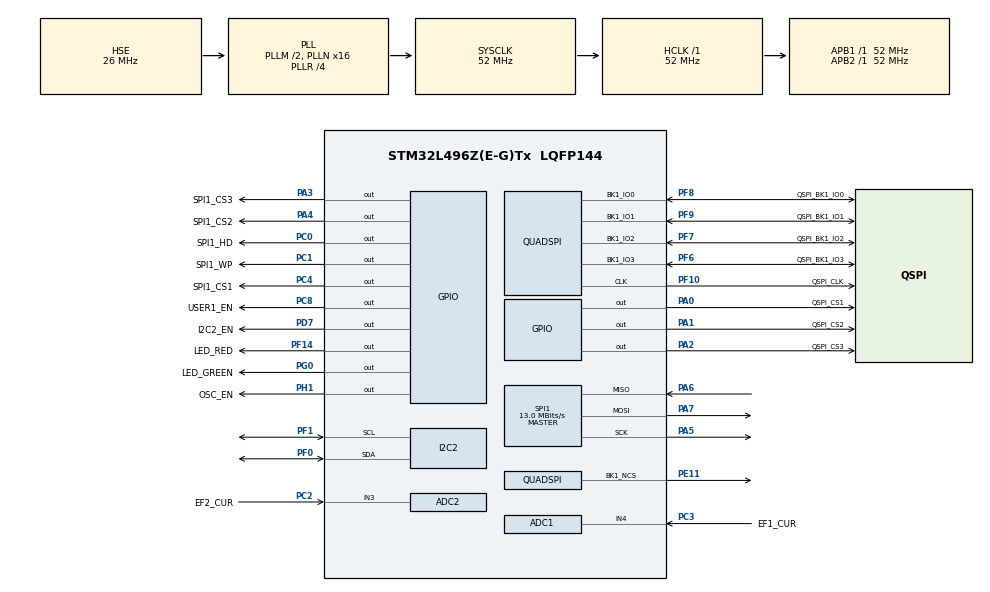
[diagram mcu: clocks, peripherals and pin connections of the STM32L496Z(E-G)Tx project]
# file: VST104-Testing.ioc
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ADC1.Channel-1\#ChannelRegularConversion=ADC_CHANNEL_4
ADC1.ClockPrescaler=ADC_CLOCK_ASYNC_DIV2
ADC1.NbrOfConversionFlag=1
ADC1.OffsetNumber-1\#ChannelRegularConversion=ADC_OFFSET_NONE
ADC1.Rank-1\#ChannelRegularConversion=1
ADC1.SamplingTime-1\#ChannelRegularConversion=ADC_SAMPLETIME_2CYCLES_5
ADC1.master=1
ADC2.Channel-0\#ChannelRegularConversion=ADC_CHANNEL_3
ADC2.ClockPrescaler=ADC_CLOCK_ASYNC_DIV2
ADC2.NbrOfConversionFlag=1
ADC2.OffsetNumber-0\#ChannelRegularConversion=ADC_OFFSET_NONE
ADC2.Rank-0\#ChannelRegularConversion=1
ADC2.SamplingTime-0\#ChannelRegularConversion=ADC_SAMPLETIME_2CYCLES_5
I2C2.Timing=0x00C0FEFF
Mcu.Family=STM32L4
Mcu.Name=STM32L496Z(E-G)Tx
Mcu.Package=LQFP144
NVIC.PriorityGroup=NVIC_PRIORITYGROUP_4
PA0.GPIO_Label=QSPI_CS1
PA0.GPIO_Speed=GPIO_SPEED_FREQ_VERY_HIGH
PA0.PinState=GPIO_PIN_SET
PA0.Signal=GPIO_Output
PA1.GPIO_Label=QSPI_CS2
PA1.GPIO_Speed=GPIO_SPEED_FREQ_VERY_HIGH
PA1.PinState=GPIO_PIN_SET
PA1.Signal=GPIO_Output
PA13\ (JTMS/SWDIO).Mode=Trace_Asynchronous_SW
PA13\ (JTMS/SWDIO).Signal=SYS_JTMS-SWDIO
PA14\ (JTCK/SWCLK).Mode=Trace_Asynchronous_SW
PA14\ (JTCK/SWCLK).Signal=SYS_JTCK-SWCLK
PA2.GPIO_Label=QSPI_CS3
PA2.Signal=GPIO_Output
PA3.GPIO_Label=SPI1_CS3
PA3.Signal=GPIO_Output
PA4.GPIO_Label=SPI1_CS2
PA4.Signal=GPIO_Output
PA5.Mode=Full_Duplex_Master
PA5.Signal=SPI1_SCK
PA6.Mode=Full_Duplex_Master
PA6.Signal=SPI1_MISO
PA7.Mode=Full_Duplex_Master
PA7.Signal=SPI1_MOSI
PB3\ (JTDO/TRACESWO).Mode=Trace_Asynchronous_SW
PB3\ (JTDO/TRACESWO).Signal=SYS_JTDO-SWO
PC0.GPIO_Label=SPI1_HD
PC0.GPIO_PuPd=GPIO_PULLUP
PC0.GPIO_Speed=GPIO_SPEED_FREQ_HIGH
PC0.PinState=GPIO_PIN_SET
PC0.Signal=GPIO_Output
PC1.GPIO_Label=SPI1_WP
PC1.GPIO_ModeDefaultOutputPP=GPIO_MODE_OUTPUT_PP
PC1.GPIO_PuPd=GPIO_PULLUP
PC1.GPIO_Speed=GPIO_SPEED_FREQ_HIGH
PC1.PinState=GPIO_PIN_SET
PC1.Signal=GPIO_Output
PC14-OSC32_IN\ (PC14).GPIO_Label=OSC32_IN
PC14-OSC32_IN\ (PC14).Mode=LSE-External-Oscillator
PC14-OSC32_IN\ (PC14).Signal=RCC_OSC32_IN
PC15-OSC32_OUT\ (PC15).GPIO_Label=OSC32_OUT
PC15-OSC32_OUT\ (PC15).Mode=LSE-External-Oscillator
PC15-OSC32_OUT\ (PC15).Signal=RCC_OSC32_OUT
PC2.GPIO_Label=EF2_CUR
PC2.Signal=ADCx_IN3
PC3.GPIO_Label=EF1_CUR
PC3.Signal=ADCx_IN4
PC4.GPIO_Label=SPI1_CS1
PC4.Signal=GPIO_Output
PC8.GPIO_Label=USER1_EN
PC8.Signal=GPIO_Output
PD7.GPIO_Label=I2C2_EN
PD7.Signal=GPIO_Output
PE11.Mode=Single Bank 1
PE11.Signal=QUADSPI_BK1_NCS
PF0.Mode=I2C
PF0.Signal=I2C2_SDA
PF1.Mode=I2C
PF1.Signal=I2C2_SCL
PF10.GPIO_Label=QSPI_CLK
PF10.Mode=Single Bank 1
PF10.Signal=QUADSPI_CLK
PF14.GPIO_Label=LED_RED
PF14.Signal=GPIO_Output
PF6.GPIO_Label=QSPI_BK1_IO3
PF6.Mode=Single Bank 1
PF6.Signal=QUADSPI_BK1_IO3
PF7.GPIO_Label=QSPI_BK1_IO2
PF7.Mode=Single Bank 1
PF7.Signal=QUADSPI_BK1_IO2
PF8.GPIO_Label=QSPI_BK1_IO0
PF8.Mode=Single Bank 1
PF8.Signal=QUADSPI_BK1_IO0
PF9.GPIO_Label=QSPI_BK1_IO1
PF9.Mode=Single Bank 1
PF9.Signal=QUADSPI_BK1_IO1
PG0.GPIO_Label=LED_GREEN
PG0.Signal=GPIO_Output
PH0-OSC_IN\ (PH0).GPIO_Label=OSC_IN
PH0-OSC_IN\ (PH0).Mode=HSE-External-Clock-Source
PH0-OSC_IN\ (PH0).Signal=RCC_OSC_IN
PH1-OSC_OUT\ (PH1).GPIO_Label=OSC_EN
PH1-OSC_OUT\ (PH1).GPIO_ModeDefaultOutputPP=GPIO_MODE_OUTPUT_PP
PH1-OSC_OUT\ (PH1).GPIO_PuPd=GPIO_PULLUP
PH1-OSC_OUT\ (PH1).PinState=GPIO_PIN_SET
PH1-OSC_OUT\ (PH1).Signal=GPIO_Output
ProjectManager.HeapSize=0x200
ProjectManager.StackSize=0x400
ProjectManager.TargetToolchain=STM32CubeIDE
QUADSPI.ChipSelectHighTime=QSPI_CS_HIGH_TIME_1_CYCLE
QUADSPI.ClockMode=QSPI_CLOCK_MODE_0
QUADSPI.ClockPrescaler=0
QUADSPI.FifoThreshold=4
QUADSPI.FlashSize=7
QUADSPI.SampleShifting=QSPI_SAMPLE_SHIFTING_NONE
RCC.ADCFreq_Value=52000000
RCC.AHBFreq_Value=52000000
RCC.APB1Freq_Value=52000000
RCC.APB1TimFreq_Value=52000000
RCC.APB2Freq_Value=52000000
RCC.APB2TimFreq_Value=52000000
RCC.CortexFreq_Value=52000000
RCC.HCLKFreq_Value=52000000
RCC.HSE_VALUE=26000000
RCC.HSI48_VALUE=48000000
RCC.HSI_VALUE=16000000
RCC.MSI_VALUE=4000000
RCC.PLLM=2
RCC.PLLN=16
RCC.PLLR=RCC_PLLR_DIV4
RCC.PLLSourceVirtual=RCC_PLLSOURCE_HSE
RCC.SYSCLKFreq_VALUE=52000000
RCC.SYSCLKSource=RCC_SYSCLKSOURCE_PLLCLK
RCC.USBFreq_Value=52000000
RCC.VCOOutputFreq_Value=208000000
SH.ADCx_IN3.0=ADC2_IN3,IN3-Single-Ended
SH.ADCx_IN4.0=ADC1_IN4,IN4-Single-Ended
SPI1.BaudRatePrescaler=SPI_BAUDRATEPRESCALER_4
SPI1.CalculateBaudRate=13.0 MBits/s
SPI1.DataSize=SPI_DATASIZE_8BIT
SPI1.Direction=SPI_DIRECTION_2LINES
SPI1.Mode=SPI_MODE_MASTER
SPI1.NSSPMode=SPI_NSS_PULSE_DISABLE
SPI1.VirtualType=VM_MASTER
VP_ADC1_Vref_Input.Mode=IN-Vrefint
VP_RCC_LSE.Mode=CRS SYNC Source LSE
VP_SYS_V_PVD_IN.Mode=Mode_PVD_Int
board=custom

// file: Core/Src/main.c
/* USER CODE BEGIN Header */
/**
  ******************************************************************************
  * @file           : main.c
  * @brief          : Main program body
  ******************************************************************************
  * @attention
  *
  * <h2><center>&copy; Copyright (c) 2020 STMicroelectronics.
  * All rights reserved.</center></h2>
  *
  * This software component is licensed by ST under BSD 3-Clause license,
  * the "License"; You may not use this file except in compliance with the
  * License. You may obtain a copy of the License at:
  *                        opensource.org/licenses/BSD-3-Clause
  *
  ******************************************************************************
  */
/* USER CODE END Header */

#include "main.h"

/* USER CODE BEGIN Includes */

#include <string.h>
#include <stdio.h> //printf

/* USER CODE END Includes */

/* USER CODE BEGIN PD */

#define VREFINT_CAL *((uint16_t*) ((uint32_t) 0x1FFF75AA)) //calibrated at 3.3V +-10mV   @ 30C +/- 5C

#define CUR_GAIN 0.000052 //E-Fuse datasheet
#define CUR_IOS 0.0000008 //E-Fuse datasheet
#define CUR_RMON 75000.0 //schematics

#define MCP_REG_TEMP (0x05) //temperature register
#define MCP_REG_CONF (0x01) //configuration register

/* USER CODE END PD */

ADC_HandleTypeDef hadc1;
ADC_HandleTypeDef hadc2;

I2C_HandleTypeDef hi2c2;

QSPI_HandleTypeDef hqspi;

SPI_HandleTypeDef hspi1;

void SystemClock_Config(void);
static void MX_GPIO_Init(void);
static void MX_ADC1_Init(void);
static void MX_ADC2_Init(void);
static void MX_I2C2_Init(void);
static void MX_QUADSPI_Init(void);
static void MX_SPI1_Init(void);

/* USER CODE BEGIN 0 */

//SWD printf workaround
int _write(int file, char *ptr, int len) {
  /* Implement your write code here, this is used by puts and printf for example */
  int i=0;
  for(i=0 ; i<len ; i++)
    ITM_SendChar((*ptr++));
  return len;
}

int QSPI_read_data(QSPI_HandleTypeDef *hqspi, int device, uint8_t command, uint8_t *buff, int size){
	HAL_StatusTypeDef ret;
	QSPI_CommandTypeDef sCommand;

	sCommand.InstructionMode   = QSPI_INSTRUCTION_1_LINE;
	sCommand.Instruction       = command;
	sCommand.AddressMode       = QSPI_ADDRESS_NONE;
	sCommand.AlternateByteMode = QSPI_ALTERNATE_BYTES_NONE;	//OK
	sCommand.DataMode          = QSPI_DATA_1_LINE;			//OK
	sCommand.NbData            = size;
	sCommand.DummyCycles       = 0;							//when 8 then 1 bit left shift
	sCommand.DdrMode           = QSPI_DDR_MODE_DISABLE;		//OK
	sCommand.DdrHoldHalfCycle  = QSPI_DDR_HHC_ANALOG_DELAY;
	sCommand.SIOOMode          = QSPI_SIOO_INST_EVERY_CMD;	//OK

	//reset all devices
	HAL_GPIO_WritePin(GPIOA, QSPI_CS1_Pin | QSPI_CS2_Pin , GPIO_PIN_SET);
	HAL_GPIO_WritePin(QSPI_CS3_GPIO_Port, QSPI_CS3_Pin, GPIO_PIN_SET);
	HAL_Delay(1);

	//select appropriate memory
	if(device == 1) HAL_GPIO_WritePin(GPIOA, QSPI_CS1_Pin, GPIO_PIN_RESET);
	else if(device ==2 ) HAL_GPIO_WritePin(GPIOA, QSPI_CS2_Pin, GPIO_PIN_RESET);
	else HAL_GPIO_WritePin(QSPI_CS3_GPIO_Port, QSPI_CS3_Pin, GPIO_PIN_RESET);

	//send command
	ret = HAL_QSPI_Command(hqspi, &sCommand, HAL_QPSI_TIMEOUT_DEFAULT_VALUE);
	if(ret != HAL_OK) return 1;

	//receive answer
	ret = HAL_QSPI_Receive(hqspi, buff, HAL_QPSI_TIMEOUT_DEFAULT_VALUE);
	if(ret != HAL_OK) return 2;

	//power off all devices
	HAL_GPIO_WritePin(GPIOA, QSPI_CS1_Pin | QSPI_CS2_Pin , GPIO_PIN_SET);
	HAL_GPIO_WritePin(QSPI_CS3_GPIO_Port, QSPI_CS3_Pin, GPIO_PIN_SET);

	return 0;
}

int SPI_read_data(SPI_HandleTypeDef *hspi, int device, uint8_t *command, uint8_t *buff, int size){
	HAL_StatusTypeDef ret;

	//reset all devices
	HAL_GPIO_WritePin(GPIOC, SPI1_CS1_Pin, GPIO_PIN_SET);
	HAL_GPIO_WritePin(GPIOA, SPI1_CS2_Pin | SPI1_CS3_Pin, GPIO_PIN_SET);
	HAL_Delay(1);

	//select appropriate memory
	if(device == 1) HAL_GPIO_WritePin(GPIOC, SPI1_CS1_Pin, GPIO_PIN_RESET);
	else if(device ==2 ) HAL_GPIO_WritePin(GPIOA, SPI1_CS2_Pin, GPIO_PIN_RESET);
	else HAL_GPIO_WritePin(GPIOA, SPI1_CS3_Pin, GPIO_PIN_RESET);

	ret = HAL_SPI_Transmit(hspi, command, 1, 100);
	if(ret != HAL_OK) return 1;

	ret = HAL_SPI_Receive(hspi, buff, size, 100);
	if(ret != HAL_OK) return 2;

	//power off all devices
	HAL_GPIO_WritePin(GPIOC, SPI1_CS1_Pin, GPIO_PIN_SET);
	HAL_GPIO_WritePin(GPIOA, SPI1_CS2_Pin | SPI1_CS3_Pin, GPIO_PIN_SET);

	return 0;
}

/* USER CODE END 0 */

int main(void)
{

  /* MCU Configuration--------------------------------------------------------*/

  /* Reset of all peripherals, Initializes the Flash interface and the Systick. */
  HAL_Init();

  /* Configure the system clock */
  SystemClock_Config();

  /* Initialize all configured peripherals */
  MX_GPIO_Init();
  MX_ADC1_Init();
  MX_ADC2_Init();
  MX_I2C2_Init();
  MX_QUADSPI_Init();
  MX_SPI1_Init();
  /* USER CODE BEGIN 2 */

	//test SDW printf
  	HAL_Delay(1500);
	printf("\nSDW printf() initialized\n\n");

	//open USER1 isolator and turn on green LED
	printf("Opening LED isolator & turning on green\n\n");
	HAL_GPIO_WritePin(USER1_EN_GPIO_Port, USER1_EN_Pin, GPIO_PIN_SET);
    HAL_GPIO_WritePin(LED_GREEN_GPIO_Port, LED_GREEN_Pin, GPIO_PIN_SET);

	//initialize I2C MCP9804 temperature sensors
	printf("Initializing MCP9804 temp. sensors:\n");

	//power on temperature sensors
	HAL_GPIO_WritePin(I2C2_EN_GPIO_Port, I2C2_EN_Pin, GPIO_PIN_SET);
	HAL_Delay(10);

	//list of temp. sensors I2C addresses
	static const uint8_t MCP_add[] = {0x18, 0x19, 0x1A, 0x1B, 0x1C, 0x1E, 0x1F};

	//prepare I2C variables
	HAL_StatusTypeDef MCP_ret;
	uint8_t MCP_buff[2];

	//configure sensor: thermostat mode, interrupt not used
	MCP_buff[0] = 0x00; MCP_buff[1] = 0x08;
	for(int i=0; i<sizeof MCP_add; i++) {
		MCP_ret = HAL_I2C_Mem_Write(&hi2c2, MCP_add[i] << 1, MCP_REG_CONF, 1, MCP_buff, 2, HAL_MAX_DELAY);
		if(MCP_ret == HAL_OK) printf("\t- device 0x%02X configured\n", MCP_add[i]);
		else printf("\t- device %02X failed\n", MCP_add[i]);
	}

	HAL_Delay(500);

  /* USER CODE END 2 */

  /* Infinite loop */
  /* USER CODE BEGIN WHILE */
  while (1) {
	//greetings and blink
	printf("\nBoard Sierra test iteration:\n");

	//LED GPIO demonstration ############################################################################################################
	printf("\n(1) Blinking red LED\n");

	//blink with red LED
	for(int i=0; i<4; i++) {
		HAL_GPIO_TogglePin(LED_RED_GPIO_Port, LED_RED_Pin);
		HAL_Delay(200);
	}

	//clock source checking ##############################################################################################################
	printf("\n(2) Clock freq. and source demonstration:\n");

	//read and print SYSCLK, HCLK, PCLK1 and PCLK2 frequencies
	printf("\t- SYSCLK freq.: %lu [Hz]\n", HAL_RCC_GetSysClockFreq());
	printf("\t- HCLK freq.:   %lu [Hz]\n", HAL_RCC_GetHCLKFreq());
	printf("\t- PCLK1 freq.:  %lu [Hz]\n", HAL_RCC_GetPCLK1Freq());
	printf("\t- PCLK2 freq.:  %lu [Hz]\n", HAL_RCC_GetPCLK2Freq());

	//current reading testing ############################################################################################################
	printf("\n(3) Power management current readings:\n");

	//prepare ADC variables
	uint16_t ADC_vals[2];

	//start ADC conversion for EF1
	HAL_ADC_Start(&hadc1);
	//poll ADC peripheral
	HAL_ADC_PollForConversion(&hadc1, 1);
	//read ADC conversion result
	ADC_vals[0] = HAL_ADC_GetValue(&hadc1);
	//stop ADC conversion for EF1
	HAL_ADC_Stop(&hadc1);

	//start ADC conversion for EF2
	HAL_ADC_Start(&hadc2);
	//poll ADC peripheral
	HAL_ADC_PollForConversion(&hadc2, 1);
	//read ADC conversion result
	ADC_vals[1] = HAL_ADC_GetValue(&hadc2);
	//stop ADC conversion for EF2
	HAL_ADC_Stop(&hadc2);

	//compute current consumption from ADC values in [mA]
	float CUR_vals[2];
	for(int i=0; i<2; i++) {
		CUR_vals[i] = (3000 * (float)VREFINT_CAL / (float)ADC_vals[i]) / 1000;
		CUR_vals[i] = (CUR_vals[i] - CUR_IOS * CUR_RMON) / (CUR_GAIN * CUR_RMON);
	}

	// print results
	printf("\t- 3V3 channel: %f [mA]\n", CUR_vals[0]);
	printf("\t- 5V channel:  %f [mA]\n", CUR_vals[1]);

	//temperature reading testing #########################################################################################################
	printf("\n(4) Temperature sensors readings:\n");

	//loop and read & process data from all sensors
	for(int i=0; i<sizeof MCP_add; i++) {
		//request Ta data
		MCP_buff[0] = 0x00; MCP_buff[1] = 0x00;
		MCP_ret = HAL_I2C_Mem_Write(&hi2c2, MCP_add[i] << 1, MCP_REG_TEMP, 1, MCP_buff, 2, HAL_MAX_DELAY);
		if(MCP_ret != HAL_OK) printf("\t- device 0x%02X failed at writing\n", MCP_add[i]);

		//read Ta data
		MCP_ret = HAL_I2C_Mem_Read(&hi2c2, MCP_add[i] << 1, MCP_REG_TEMP, 1, MCP_buff, 2, HAL_MAX_DELAY);
		if(MCP_ret != HAL_OK) printf("\t- device 0x%02X failed at reading\n", MCP_add[i]);

		//convert Ta value to Celsius temperature
		float MCP_temp;
		//clear flag bite
		if(MCP_buff[0] & 0xE0)
			MCP_buff[0] = MCP_buff[0] & 0x1F;

		if((MCP_buff[0] & 0x10) == 0x10){
			MCP_buff[0] = MCP_buff[0] & 0x0F;
			MCP_temp = (256 - (MCP_buff[0] << 4) + (MCP_buff[1] >> 4)) * -1;
		}
		else
			MCP_temp = (float)MCP_buff[0] * 16 + (float)MCP_buff[1] / 16;

		//print results
		printf("\t- device 0x%02X temperature: %.3f [%cC]\n", MCP_add[i], MCP_temp, 176);
	}

	//QSPI flash memories detection ##########################################################################################################
	printf("\n(5) NOR-Flash QSPI manufacturer data request:\n");

	//prepare variables
	int QSPI_ret; uint8_t QSPI_buff[8];

	//loop thru memories
	for(int i=1; i<4; i++) {
		//request and read manufacturer device type
		QSPI_ret = QSPI_read_data(&hqspi, i, 0x9F, QSPI_buff, 3);
		if(QSPI_ret != 0) printf("\t- memory %d manufacturer type failed at %d\n", i, QSPI_ret);
		else {
			printf("\t- memory %d dev. type: ", i);
			for(int j=0; j<3; j++) printf("0x%02X ", QSPI_buff[j]);
			printf("\n");
		}
	}

	//loop thru memories
	for(int i=1; i<4; i++) {
		//request and read unique device ID
		QSPI_ret = QSPI_read_data(&hqspi, i, 0x4B, QSPI_buff, 8);
		if(QSPI_ret != 0) printf("\t- memory %d unique ID failed at %d\n", i, QSPI_ret);
		else {
			printf("\t- memory %d unique ID: ", i);
			for(int j=0; j<8; j++) printf("0x%02X ", QSPI_buff[j]);
			printf("\n");
		}
	}

	//QSPI flash memories detection ##########################################################################################################
	printf("\n(6) F-RAM SPI manufacturer data request:\n");

	//prepare variables
	int SPI_ret; uint8_t SPI_buff[9];
	uint8_t SPI_command[] = {0x9F};

	//loop thru memories
	for(int i=4; i<7; i++) {
		SPI_ret = SPI_read_data(&hspi1, i-3, SPI_command, SPI_buff, 9);
		if(SPI_ret != 0) printf("\t- memory %d failed at %d\n", i, SPI_ret);
		else {
			printf("\t- memory %d dev. type and unique ID: ", i);
			for(int j=0; j<9; j++) printf("0x%02X ", SPI_buff[j]);
			printf("\n");
		}
	}

	//new line needed
	printf("\n");

	//wait
	HAL_Delay(2000);
    /* USER CODE END WHILE */

  }
  while(1){
  }
}

void SystemClock_Config(void)
{
  RCC_OscInitTypeDef RCC_OscInitStruct = {0};
  RCC_ClkInitTypeDef RCC_ClkInitStruct = {0};
  RCC_PeriphCLKInitTypeDef PeriphClkInit = {0};
  RCC_CRSInitTypeDef RCC_CRSInitStruct = {0};

  /** Initializes the CPU, AHB and APB busses clocks
  */
  RCC_OscInitStruct.OscillatorType = RCC_OSCILLATORTYPE_HSE;
  RCC_OscInitStruct.HSEState = RCC_HSE_BYPASS;
  RCC_OscInitStruct.PLL.PLLState = RCC_PLL_ON;
  RCC_OscInitStruct.PLL.PLLSource = RCC_PLLSOURCE_HSE;
  RCC_OscInitStruct.PLL.PLLM = 2;
  RCC_OscInitStruct.PLL.PLLN = 16;
  RCC_OscInitStruct.PLL.PLLP = RCC_PLLP_DIV2;
  RCC_OscInitStruct.PLL.PLLQ = RCC_PLLQ_DIV2;
  RCC_OscInitStruct.PLL.PLLR = RCC_PLLR_DIV4;
  if (HAL_RCC_OscConfig(&RCC_OscInitStruct) != HAL_OK)
  {
    Error_Handler();
  }
  /** Initializes the CPU, AHB and APB busses clocks
  */
  RCC_ClkInitStruct.ClockType = RCC_CLOCKTYPE_HCLK|RCC_CLOCKTYPE_SYSCLK
                              |RCC_CLOCKTYPE_PCLK1|RCC_CLOCKTYPE_PCLK2;
  RCC_ClkInitStruct.SYSCLKSource = RCC_SYSCLKSOURCE_PLLCLK;
  RCC_ClkInitStruct.AHBCLKDivider = RCC_SYSCLK_DIV1;
  RCC_ClkInitStruct.APB1CLKDivider = RCC_HCLK_DIV1;
  RCC_ClkInitStruct.APB2CLKDivider = RCC_HCLK_DIV1;

  if (HAL_RCC_ClockConfig(&RCC_ClkInitStruct, FLASH_LATENCY_3) != HAL_OK)
  {
    Error_Handler();
  }
  PeriphClkInit.PeriphClockSelection = RCC_PERIPHCLK_I2C2|RCC_PERIPHCLK_ADC;
  PeriphClkInit.I2c2ClockSelection = RCC_I2C2CLKSOURCE_PCLK1;
  PeriphClkInit.AdcClockSelection = RCC_ADCCLKSOURCE_PLLSAI1;
  PeriphClkInit.PLLSAI1.PLLSAI1Source = RCC_PLLSOURCE_HSE;
  PeriphClkInit.PLLSAI1.PLLSAI1M = 2;
  PeriphClkInit.PLLSAI1.PLLSAI1N = 8;
  PeriphClkInit.PLLSAI1.PLLSAI1P = RCC_PLLP_DIV2;
  PeriphClkInit.PLLSAI1.PLLSAI1Q = RCC_PLLQ_DIV2;
  PeriphClkInit.PLLSAI1.PLLSAI1R = RCC_PLLR_DIV2;
  PeriphClkInit.PLLSAI1.PLLSAI1ClockOut = RCC_PLLSAI1_ADC1CLK;
  if (HAL_RCCEx_PeriphCLKConfig(&PeriphClkInit) != HAL_OK)
  {
    Error_Handler();
  }
  /** Configure the main internal regulator output voltage
  */
  if (HAL_PWREx_ControlVoltageScaling(PWR_REGULATOR_VOLTAGE_SCALE1) != HAL_OK)
  {
    Error_Handler();
  }
  /** Enable the SYSCFG APB clock
  */
  __HAL_RCC_CRS_CLK_ENABLE();
  /** Configures CRS
  */
  RCC_CRSInitStruct.Prescaler = RCC_CRS_SYNC_DIV1;
  RCC_CRSInitStruct.Source = RCC_CRS_SYNC_SOURCE_LSE;
  RCC_CRSInitStruct.Polarity = RCC_CRS_SYNC_POLARITY_RISING;
  RCC_CRSInitStruct.ReloadValue = __HAL_RCC_CRS_RELOADVALUE_CALCULATE(48000000,32768);
  RCC_CRSInitStruct.ErrorLimitValue = 34;
  RCC_CRSInitStruct.HSI48CalibrationValue = 32;

  HAL_RCCEx_CRSConfig(&RCC_CRSInitStruct);
}

static void MX_ADC1_Init(void)
{

  ADC_MultiModeTypeDef multimode = {0};
  ADC_ChannelConfTypeDef sConfig = {0};

  /** Common config
  */
  hadc1.Instance = ADC1;
  hadc1.Init.ClockPrescaler = ADC_CLOCK_ASYNC_DIV2;
  hadc1.Init.Resolution = ADC_RESOLUTION_12B;
  hadc1.Init.DataAlign = ADC_DATAALIGN_RIGHT;
  hadc1.Init.ScanConvMode = ADC_SCAN_DISABLE;
  hadc1.Init.EOCSelection = ADC_EOC_SINGLE_CONV;
  hadc1.Init.LowPowerAutoWait = DISABLE;
  hadc1.Init.ContinuousConvMode = DISABLE;
  hadc1.Init.NbrOfConversion = 1;
  hadc1.Init.DiscontinuousConvMode = DISABLE;
  hadc1.Init.NbrOfDiscConversion = 1;
  hadc1.Init.ExternalTrigConv = ADC_SOFTWARE_START;
  hadc1.Init.ExternalTrigConvEdge = ADC_EXTERNALTRIGCONVEDGE_NONE;
  hadc1.Init.DMAContinuousRequests = DISABLE;
  hadc1.Init.Overrun = ADC_OVR_DATA_PRESERVED;
  hadc1.Init.OversamplingMode = DISABLE;
  if (HAL_ADC_Init(&hadc1) != HAL_OK)
  {
    Error_Handler();
  }
  /** Configure the ADC multi-mode
  */
  multimode.Mode = ADC_MODE_INDEPENDENT;
  if (HAL_ADCEx_MultiModeConfigChannel(&hadc1, &multimode) != HAL_OK)
  {
    Error_Handler();
  }
  /** Configure Regular Channel
  */
  sConfig.Channel = ADC_CHANNEL_4;
  sConfig.Rank = ADC_REGULAR_RANK_1;
  sConfig.SamplingTime = ADC_SAMPLETIME_2CYCLES_5;
  sConfig.SingleDiff = ADC_SINGLE_ENDED;
  sConfig.OffsetNumber = ADC_OFFSET_NONE;
  sConfig.Offset = 0;
  if (HAL_ADC_ConfigChannel(&hadc1, &sConfig) != HAL_OK)
  {
    Error_Handler();
  }

}

static void MX_ADC2_Init(void)
{

  ADC_ChannelConfTypeDef sConfig = {0};

  /** Common config
  */
  hadc2.Instance = ADC2;
  hadc2.Init.ClockPrescaler = ADC_CLOCK_ASYNC_DIV2;
  hadc2.Init.Resolution = ADC_RESOLUTION_12B;
  hadc2.Init.DataAlign = ADC_DATAALIGN_RIGHT;
  hadc2.Init.ScanConvMode = ADC_SCAN_DISABLE;
  hadc2.Init.EOCSelection = ADC_EOC_SINGLE_CONV;
  hadc2.Init.LowPowerAutoWait = DISABLE;
  hadc2.Init.ContinuousConvMode = DISABLE;
  hadc2.Init.NbrOfConversion = 1;
  hadc2.Init.DiscontinuousConvMode = DISABLE;
  hadc2.Init.NbrOfDiscConversion = 1;
  hadc2.Init.ExternalTrigConv = ADC_SOFTWARE_START;
  hadc2.Init.ExternalTrigConvEdge = ADC_EXTERNALTRIGCONVEDGE_NONE;
  hadc2.Init.DMAContinuousRequests = DISABLE;
  hadc2.Init.Overrun = ADC_OVR_DATA_PRESERVED;
  hadc2.Init.OversamplingMode = DISABLE;
  if (HAL_ADC_Init(&hadc2) != HAL_OK)
  {
    Error_Handler();
  }
  /** Configure Regular Channel
  */
  sConfig.Channel = ADC_CHANNEL_3;
  sConfig.Rank = ADC_REGULAR_RANK_1;
  sConfig.SamplingTime = ADC_SAMPLETIME_2CYCLES_5;
  sConfig.SingleDiff = ADC_SINGLE_ENDED;
  sConfig.OffsetNumber = ADC_OFFSET_NONE;
  sConfig.Offset = 0;
  if (HAL_ADC_ConfigChannel(&hadc2, &sConfig) != HAL_OK)
  {
    Error_Handler();
  }

}

static void MX_I2C2_Init(void)
{

  hi2c2.Instance = I2C2;
  hi2c2.Init.Timing = 0x00C0FEFF;
  hi2c2.Init.OwnAddress1 = 0;
  hi2c2.Init.AddressingMode = I2C_ADDRESSINGMODE_7BIT;
  hi2c2.Init.DualAddressMode = I2C_DUALADDRESS_DISABLE;
  hi2c2.Init.OwnAddress2 = 0;
  hi2c2.Init.OwnAddress2Masks = I2C_OA2_NOMASK;
  hi2c2.Init.GeneralCallMode = I2C_GENERALCALL_DISABLE;
  hi2c2.Init.NoStretchMode = I2C_NOSTRETCH_DISABLE;
  if (HAL_I2C_Init(&hi2c2) != HAL_OK)
  {
    Error_Handler();
  }
  /** Configure Analogue filter
  */
  if (HAL_I2CEx_ConfigAnalogFilter(&hi2c2, I2C_ANALOGFILTER_ENABLE) != HAL_OK)
  {
    Error_Handler();
  }
  /** Configure Digital filter
  */
  if (HAL_I2CEx_ConfigDigitalFilter(&hi2c2, 0) != HAL_OK)
  {
    Error_Handler();
  }

}

static void MX_QUADSPI_Init(void)
{

  /* QUADSPI parameter configuration*/
  hqspi.Instance = QUADSPI;
  hqspi.Init.ClockPrescaler = 0;
  hqspi.Init.FifoThreshold = 4;
  hqspi.Init.SampleShifting = QSPI_SAMPLE_SHIFTING_NONE;
  hqspi.Init.FlashSize = 7;
  hqspi.Init.ChipSelectHighTime = QSPI_CS_HIGH_TIME_1_CYCLE;
  hqspi.Init.ClockMode = QSPI_CLOCK_MODE_0;
  hqspi.Init.FlashID = QSPI_FLASH_ID_1;
  hqspi.Init.DualFlash = QSPI_DUALFLASH_DISABLE;
  if (HAL_QSPI_Init(&hqspi) != HAL_OK)
  {
    Error_Handler();
  }

}

static void MX_SPI1_Init(void)
{

  /* SPI1 parameter configuration*/
  hspi1.Instance = SPI1;
  hspi1.Init.Mode = SPI_MODE_MASTER;
  hspi1.Init.Direction = SPI_DIRECTION_2LINES;
  hspi1.Init.DataSize = SPI_DATASIZE_8BIT;
  hspi1.Init.CLKPolarity = SPI_POLARITY_LOW;
  hspi1.Init.CLKPhase = SPI_PHASE_1EDGE;
  hspi1.Init.NSS = SPI_NSS_SOFT;
  hspi1.Init.BaudRatePrescaler = SPI_BAUDRATEPRESCALER_4;
  hspi1.Init.FirstBit = SPI_FIRSTBIT_MSB;
  hspi1.Init.TIMode = SPI_TIMODE_DISABLE;
  hspi1.Init.CRCCalculation = SPI_CRCCALCULATION_DISABLE;
  hspi1.Init.CRCPolynomial = 7;
  hspi1.Init.CRCLength = SPI_CRC_LENGTH_DATASIZE;
  hspi1.Init.NSSPMode = SPI_NSS_PULSE_DISABLE;
  if (HAL_SPI_Init(&hspi1) != HAL_OK)
  {
    Error_Handler();
  }

}

static void MX_GPIO_Init(void)
{
  GPIO_InitTypeDef GPIO_InitStruct = {0};

  /* GPIO Ports Clock Enable */
  __HAL_RCC_GPIOC_CLK_ENABLE();
  __HAL_RCC_GPIOF_CLK_ENABLE();
  __HAL_RCC_GPIOH_CLK_ENABLE();
  __HAL_RCC_GPIOA_CLK_ENABLE();
  __HAL_RCC_GPIOG_CLK_ENABLE();
  __HAL_RCC_GPIOE_CLK_ENABLE();
  __HAL_RCC_GPIOD_CLK_ENABLE();
  __HAL_RCC_GPIOB_CLK_ENABLE();

  /*Configure GPIO pin Output Level */
  HAL_GPIO_WritePin(OSC_EN_GPIO_Port, OSC_EN_Pin, GPIO_PIN_SET);

  /*Configure GPIO pin Output Level */
  HAL_GPIO_WritePin(GPIOC, SPI1_HD_Pin|SPI1_WP_Pin, GPIO_PIN_SET);

  /*Configure GPIO pin Output Level */
  HAL_GPIO_WritePin(GPIOA, QSPI_CS1_Pin|QSPI_CS2_Pin, GPIO_PIN_SET);

  /*Configure GPIO pin Output Level */
  HAL_GPIO_WritePin(GPIOA, QSPI_CS3_Pin|SPI1_CS3_Pin|SPI1_CS2_Pin, GPIO_PIN_RESET);

  /*Configure GPIO pin Output Level */
  HAL_GPIO_WritePin(GPIOC, SPI1_CS1_Pin|USER1_EN_Pin, GPIO_PIN_RESET);

  /*Configure GPIO pin Output Level */
  HAL_GPIO_WritePin(LED_RED_GPIO_Port, LED_RED_Pin, GPIO_PIN_RESET);

  /*Configure GPIO pin Output Level */
  HAL_GPIO_WritePin(LED_GREEN_GPIO_Port, LED_GREEN_Pin, GPIO_PIN_RESET);

  /*Configure GPIO pin Output Level */
  HAL_GPIO_WritePin(I2C2_EN_GPIO_Port, I2C2_EN_Pin, GPIO_PIN_RESET);

  /*Configure GPIO pin : OSC_EN_Pin */
  GPIO_InitStruct.Pin = OSC_EN_Pin;
  GPIO_InitStruct.Mode = GPIO_MODE_OUTPUT_PP;
  GPIO_InitStruct.Pull = GPIO_PULLUP;
  GPIO_InitStruct.Speed = GPIO_SPEED_FREQ_LOW;
  HAL_GPIO_Init(OSC_EN_GPIO_Port, &GPIO_InitStruct);

  /*Configure GPIO pins : SPI1_HD_Pin SPI1_WP_Pin */
  GPIO_InitStruct.Pin = SPI1_HD_Pin|SPI1_WP_Pin;
  GPIO_InitStruct.Mode = GPIO_MODE_OUTPUT_PP;
  GPIO_InitStruct.Pull = GPIO_PULLUP;
  GPIO_InitStruct.Speed = GPIO_SPEED_FREQ_HIGH;
  HAL_GPIO_Init(GPIOC, &GPIO_InitStruct);

  /*Configure GPIO pins : QSPI_CS1_Pin QSPI_CS2_Pin */
  GPIO_InitStruct.Pin = QSPI_CS1_Pin|QSPI_CS2_Pin;
  GPIO_InitStruct.Mode = GPIO_MODE_OUTPUT_PP;
  GPIO_InitStruct.Pull = GPIO_NOPULL;
  GPIO_InitStruct.Speed = GPIO_SPEED_FREQ_VERY_HIGH;
  HAL_GPIO_Init(GPIOA, &GPIO_InitStruct);

  /*Configure GPIO pins : QSPI_CS3_Pin SPI1_CS3_Pin SPI1_CS2_Pin */
  GPIO_InitStruct.Pin = QSPI_CS3_Pin|SPI1_CS3_Pin|SPI1_CS2_Pin;
  GPIO_InitStruct.Mode = GPIO_MODE_OUTPUT_PP;
  GPIO_InitStruct.Pull = GPIO_NOPULL;
  GPIO_InitStruct.Speed = GPIO_SPEED_FREQ_LOW;
  HAL_GPIO_Init(GPIOA, &GPIO_InitStruct);

  /*Configure GPIO pins : SPI1_CS1_Pin USER1_EN_Pin */
  GPIO_InitStruct.Pin = SPI1_CS1_Pin|USER1_EN_Pin;
  GPIO_InitStruct.Mode = GPIO_MODE_OUTPUT_PP;
  GPIO_InitStruct.Pull = GPIO_NOPULL;
  GPIO_InitStruct.Speed = GPIO_SPEED_FREQ_LOW;
  HAL_GPIO_Init(GPIOC, &GPIO_InitStruct);

  /*Configure GPIO pin : LED_RED_Pin */
  GPIO_InitStruct.Pin = LED_RED_Pin;
  GPIO_InitStruct.Mode = GPIO_MODE_OUTPUT_PP;
  GPIO_InitStruct.Pull = GPIO_NOPULL;
  GPIO_InitStruct.Speed = GPIO_SPEED_FREQ_LOW;
  HAL_GPIO_Init(LED_RED_GPIO_Port, &GPIO_InitStruct);

  /*Configure GPIO pin : LED_GREEN_Pin */
  GPIO_InitStruct.Pin = LED_GREEN_Pin;
  GPIO_InitStruct.Mode = GPIO_MODE_OUTPUT_PP;
  GPIO_InitStruct.Pull = GPIO_NOPULL;
  GPIO_InitStruct.Speed = GPIO_SPEED_FREQ_LOW;
  HAL_GPIO_Init(LED_GREEN_GPIO_Port, &GPIO_InitStruct);

  /*Configure GPIO pin : I2C2_EN_Pin */
  GPIO_InitStruct.Pin = I2C2_EN_Pin;
  GPIO_InitStruct.Mode = GPIO_MODE_OUTPUT_PP;
  GPIO_InitStruct.Pull = GPIO_NOPULL;
  GPIO_InitStruct.Speed = GPIO_SPEED_FREQ_LOW;
  HAL_GPIO_Init(I2C2_EN_GPIO_Port, &GPIO_InitStruct);

}

void Error_Handler(void)
{
}

/************************ (C) COPYRIGHT STMicroelectronics *****END OF FILE****/
